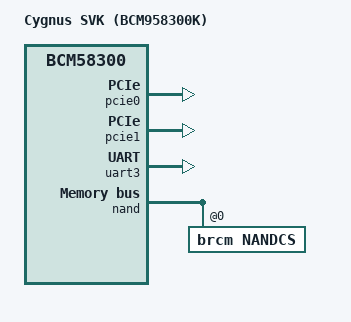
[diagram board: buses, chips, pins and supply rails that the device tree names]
FASTVC-BENCH-CORPUS:linux-main-100k-v1-e0bd41dc-8e12-4f1b-978d-a3645ae59da0
/*
 *  BSD LICENSE
 *
 *  Copyright(c) 2014 Broadcom Corporation.  All rights reserved.
 *
 *  Redistribution and use in source and binary forms, with or without
 *  modification, are permitted provided that the following conditions
 *  are met:
 *
 *    * Redistributions of source code must retain the above copyright
/* bench 13587.0.0 f66d7116c47c */
/* bench 13587.0.1 f38348debe28 */
/* bench 13587.0.2 2c070fc70efc */
/* bench 13587.0.3 fcc853b9e683 */
/* bench 13587.0.4 e4d2da0b7b11 */
/* bench 13587.0.5 2718ed59640c */
/* bench 13587.0.6 3847de1d7b21 */
/* bench 13587.0.7 d21e367f0163 */
/* bench 13587.0.8 d9dda285d132 */
/* bench 13587.0.9 b37f0e3ec8e6 */
 *      notice, this list of conditions and the following disclaimer.
 *    * Redistributions in binary form must reproduce the above copyright
/* bench 6641.0.0 004e8fd56920 */
/* bench 6641.0.1 6e2113cf7cbf */
/* bench 6641.0.2 10194a2e5b12 */
/* bench 6641.0.3 109e05bf04c2 */
/* bench 6641.0.4 d6cf2cc79978 */
/* bench 6641.0.5 5cc9f83abf21 */
 *      distribution.
 *    * Neither the name of Broadcom Corporation nor the names of its
 *      contributors may be used to endorse or promote products derived
 *      from this software without specific prior written permission.
 *
 *  THIS SOFTWARE IS PROVIDED BY THE COPYRIGHT HOLDERS AND CONTRIBUTORS
 *  "AS IS" AND ANY EXPRESS OR IMPLIED WARRANTIES, INCLUDING, BUT NOT
 *  LIMITED TO, THE IMPLIED WARRANTIES OF MERCHANTABILITY AND FITNESS FOR
 *  A PARTICULAR PURPOSE ARE DISCLAIMED. IN NO EVENT SHALL THE COPYRIGHT
 *  OWNER OR CONTRIBUTORS BE LIABLE FOR ANY DIRECT, INDIRECT, INCIDENTAL,
 *  SPECIAL, EXEMPLARY, OR CONSEQUENTIAL DAMAGES (INCLUDING, BUT NOT
 *  LIMITED TO, PROCUREMENT OF SUBSTITUTE GOODS OR SERVICES; LOSS OF USE,
 *  DATA, OR PROFITS; OR BUSINESS INTERRUPTION) HOWEVER CAUSED AND ON ANY
 *  THEORY OF LIABILITY, WHETHER IN CONTRACT, STRICT LIABILITY, OR TORT
 *  (INCLUDING NEGLIGENCE OR OTHERWISE) ARISING IN ANY WAY OUT OF THE USE
 * OF THIS SOFTWARE, EVEN IF ADVISED OF THE POSSIBILITY OF SUCH DAMAGE.
 */

/dts-v1/;

#include "bcm-cygnus.dtsi"
#include "bcm9hmidc.dtsi"

/ {
	model = "Cygnus SVK (BCM958300K)";
	compatible = "brcm,bcm58300", "brcm,cygnus";

	aliases {
		serial0 = &uart3;
	};

	chosen {
		stdout-path = "serial0:115200n8";
	};
};

&pcie0 {
	status = "okay";
};

&pcie1 {
	status = "okay";
};

&uart3 {
	status = "okay";
};

&nand {
	nandcs@1 {
		compatible = "brcm,nandcs";
		reg = <0>;
		nand-on-flash-bbt;

		#address-cells = <1>;
		#size-cells = <1>;

		nand-ecc-strength = <24>;
		nand-ecc-step-size = <1024>;

		brcm,nand-oob-sector-size = <27>;
	};
};
